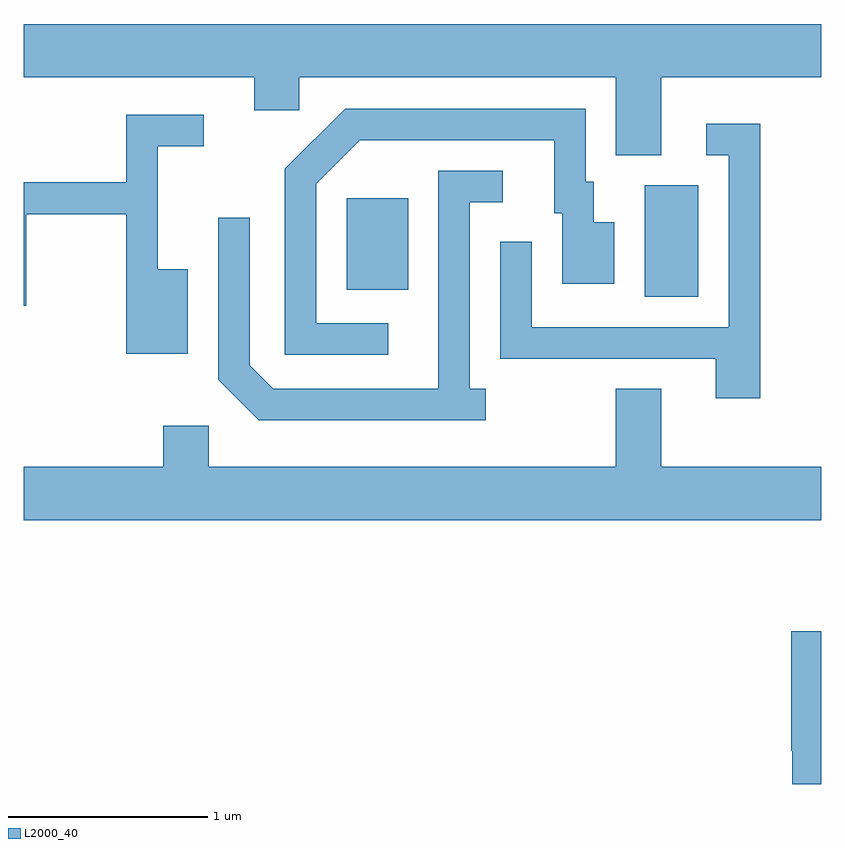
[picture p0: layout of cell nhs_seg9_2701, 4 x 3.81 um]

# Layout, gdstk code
import gdstk
lib = gdstk.Library(unit=1e-6, precision=1e-09)
def R(c, l, rs):  # rectangles x0, y0, x1, y1
    for r in rs: c.add(gdstk.rectangle(r[:2], r[2:], *l))
def P(c, l, *ps):  # polygons
    for p in ps: c.add(gdstk.Polygon(p, *l))
L2000_40 = (2000, 40)

nhs_seg9_2701 = lib.new_cell('nhs_seg9_2701')
R(nhs_seg9_2701, L2000_40, [(266.726,2052.876,266.994,2053.434), (265.231,2052.911,265.539,2053.369)])
P(nhs_seg9_2701, L2000_40, [(266.809,2053.976),(267.611,2053.976),(267.611,2054.244),(263.611,2054.244),(263.611,2053.976),(264.766,2053.976),(264.766,2053.811),(264.994,2053.811),(264.994,2053.976),(266.581,2053.976),(266.581,2053.586),(266.809,2053.586)],
  [(265.438,2052.744),(265.079,2052.744),(265.079,2053.443),(265.297,2053.661),(266.271,2053.661),(266.271,2053.296),(266.311,2053.296),(266.311,2052.941),(266.574,2052.941),(266.574,2053.249),(266.469,2053.249),(266.469,2053.454),(266.429,2053.454),(266.429,2053.819),(265.224,2053.819),(264.921,2053.517),(264.921,2052.586),(265.438,2052.586)],
  [(264.434,2053.014),(264.284,2053.014),(264.284,2053.631),(264.513,2053.631),(264.513,2053.789),(264.126,2053.789),(264.126,2053.449),(263.611,2053.449),(263.611,2052.831),(263.624,2052.831),(263.624,2053.291),(264.126,2053.291),(264.126,2052.591),(264.434,2052.591)],
  [(267.304,2053.744),(267.033,2053.744),(267.033,2053.586),(267.146,2053.586),(267.146,2052.724),(266.159,2052.724),(266.159,2053.153),(266.001,2053.153),(266.001,2052.566),(267.081,2052.566),(267.081,2052.366),(267.304,2052.366)],
  [(265.928,2052.414),(265.849,2052.414),(265.849,2053.351),(266.013,2053.351),(266.013,2053.509),(265.691,2053.509),(265.691,2052.414),(264.862,2052.414),(264.744,2052.532),(264.744,2053.273),(264.586,2053.273),(264.586,2052.459),(264.789,2052.256),(265.928,2052.256)],
  [(267.611,2052.024),(266.809,2052.024),(266.809,2052.414),(266.581,2052.414),(266.581,2052.024),(264.539,2052.024),(264.539,2052.229),(264.311,2052.229),(264.311,2052.024),(263.611,2052.024),(263.611,2051.756),(267.611,2051.756)],
  [(267.611,2051.199),(267.461,2051.199),(267.461,2050.6),(267.466,2050.6),(267.466,2050.432),(267.611,2050.432)])

lib.write_gds('nhs_seg9_2701.gds')
